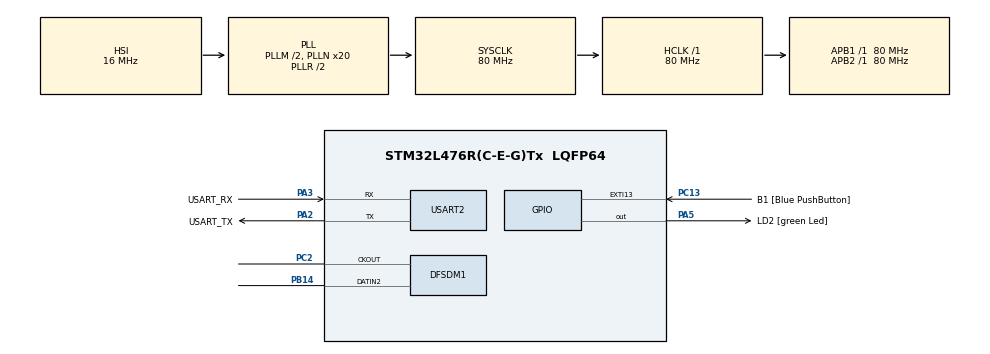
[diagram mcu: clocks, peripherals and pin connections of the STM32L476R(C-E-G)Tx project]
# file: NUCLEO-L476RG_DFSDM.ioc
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DFSDM1.Divider=17
DFSDM1.DmaMode_reg_FIL0=ENABLE
DFSDM1.FastMode_reg_FIL0=ENABLE
DFSDM1.Filter_regChannel_FIL0=DFSDM_CHANNEL_2
DFSDM1.Fosr_FIL0=32
DFSDM1.Oversampling_CH2=10
DFSDM1.RightBitShift_CH2=0x02
DFSDM1.SincOrder_FIL0=DFSDM_FILTER_SINC3_ORDER
Dma.DFSDM1_FLT0.0.Direction=DMA_PERIPH_TO_MEMORY
Dma.DFSDM1_FLT0.0.Instance=DMA1_Channel4
Dma.DFSDM1_FLT0.0.MemDataAlignment=DMA_MDATAALIGN_WORD
Dma.DFSDM1_FLT0.0.MemInc=DMA_MINC_ENABLE
Dma.DFSDM1_FLT0.0.Mode=DMA_CIRCULAR
Dma.DFSDM1_FLT0.0.PeriphDataAlignment=DMA_PDATAALIGN_WORD
Dma.DFSDM1_FLT0.0.PeriphInc=DMA_PINC_DISABLE
Dma.DFSDM1_FLT0.0.Priority=DMA_PRIORITY_MEDIUM
Dma.Request0=DFSDM1_FLT0
Mcu.Family=STM32L4
Mcu.Name=STM32L476R(C-E-G)Tx
Mcu.Package=LQFP64
NVIC.DMA1_Channel4_IRQn=true\:0\:0\:false\:false\:true\:true
NVIC.EXTI15_10_IRQn=true\:0\:0\:false\:false\:true\:true
NVIC.PriorityGroup=NVIC_PRIORITYGROUP_4
PA13\ (JTMS-SWDIO).GPIO_Label=TMS
PA13\ (JTMS-SWDIO).Signal=SYS_JTMS-SWDIO
PA14\ (JTCK-SWCLK).GPIO_Label=TCK
PA14\ (JTCK-SWCLK).Signal=SYS_JTCK-SWCLK
PA2.GPIO_Label=USART_TX
PA2.GPIO_Mode=GPIO_MODE_AF_PP
PA2.GPIO_PuPd=GPIO_NOPULL
PA2.GPIO_Speed=GPIO_SPEED_FREQ_VERY_HIGH
PA2.Mode=Asynchronous
PA2.Signal=USART2_TX
PA3.GPIO_Label=USART_RX
PA3.GPIO_Mode=GPIO_MODE_AF_PP
PA3.GPIO_PuPd=GPIO_NOPULL
PA3.GPIO_Speed=GPIO_SPEED_FREQ_VERY_HIGH
PA3.Mode=Asynchronous
PA3.Signal=USART2_RX
PA5.GPIO_Label=LD2 [green Led]
PA5.GPIO_ModeDefaultOutputPP=GPIO_MODE_OUTPUT_PP
PA5.GPIO_PuPd=GPIO_NOPULL
PA5.GPIO_Speed=GPIO_SPEED_FREQ_LOW
PA5.Signal=GPIO_Output
PB14.Signal=S_DATAIN2DFSDM1
PB3\ (JTDO-TRACESWO).GPIO_Label=SWO
PB3\ (JTDO-TRACESWO).Signal=SYS_JTDO-SWO
PC13.GPIO_Label=B1 [Blue PushButton]
PC13.GPIO_ModeDefaultEXTI=GPIO_MODE_IT_FALLING
PC13.GPIO_PuPd=GPIO_NOPULL
PC13.Signal=GPXTI13
PC14-OSC32_IN\ (PC14).Signal=RCC_OSC32_IN
PC15-OSC32_OUT\ (PC15).Signal=RCC_OSC32_OUT
PC2.Signal=S_CKOUTDFSDM1
PH0-OSC_IN\ (PH0).Signal=RCC_OSC_IN
PH1-OSC_OUT\ (PH1).Signal=RCC_OSC_OUT
ProjectManager.HeapSize=0x200
ProjectManager.StackSize=0x400
ProjectManager.TargetToolchain=TrueSTUDIO
RCC.ADCFreq_Value=96000000
RCC.AHBFreq_Value=80000000
RCC.APB1Freq_Value=80000000
RCC.APB1TimFreq_Value=80000000
RCC.APB2Freq_Value=80000000
RCC.APB2TimFreq_Value=80000000
RCC.CortexFreq_Value=80000000
RCC.HCLKFreq_Value=80000000
RCC.HSE_VALUE=8000000
RCC.HSI_VALUE=16000000
RCC.LSE_VALUE=32768
RCC.MSI_VALUE=4000000
RCC.PLLM=2
RCC.PLLN=20
RCC.PLLSAI1N=24
RCC.PLLSAI1Q=RCC_PLLQ_DIV4
RCC.PLLSourceVirtual=RCC_PLLSOURCE_HSI
RCC.PREFETCH_ENABLE=1
RCC.SYSCLKFreq_VALUE=80000000
RCC.SYSCLKSource=RCC_SYSCLKSOURCE_PLLCLK
RCC.USBFreq_Value=48000000
RCC.VCOOutputFreq_Value=160000000
SH.S_CKOUTDFSDM1.0=DFSDM1_CKOUT,PDM_SPI_input_from_ch2_and_internal_clock
SH.S_CKOUTDFSDM1.1=DFSDM1_CKOUT,CKOUT
SH.S_DATAIN2DFSDM1.0=DFSDM1_DATIN2,PDM_SPI_input_from_ch2_and_internal_clock
USART2.VirtualMode-Asynchronous=VM_ASYNC
USART2.WordLength=WORDLENGTH_8B
board=NUCLEO-L476RG

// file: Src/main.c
/**
  ******************************************************************************
  * @file           : main.c
  * @brief          : Main program body
  ******************************************************************************
  ** This notice applies to any and all portions of this file
  * that are not between comment pairs USER CODE BEGIN and
  * USER CODE END. Other portions of this file, whether
  * inserted by the user or by software development tools
  * are owned by their respective copyright owners.
  *
  * COPYRIGHT(c) 2018 STMicroelectronics
  *
  * Redistribution and use in source and binary forms, with or without modification,
  * are permitted provided that the following conditions are met:
  *   1. Redistributions of source code must retain the above copyright notice,
  *      this list of conditions and the following disclaimer.
  *   2. Redistributions in binary form must reproduce the above copyright notice,
  *      this list of conditions and the following disclaimer in the documentation
  *      and/or other materials provided with the distribution.
  *   3. Neither the name of STMicroelectronics nor the names of its contributors
  *      may be used to endorse or promote products derived from this software
  *      without specific prior written permission.
  *
  * THIS SOFTWARE IS PROVIDED BY THE COPYRIGHT HOLDERS AND CONTRIBUTORS "AS IS"
  * AND ANY EXPRESS OR IMPLIED WARRANTIES, INCLUDING, BUT NOT LIMITED TO, THE
  * IMPLIED WARRANTIES OF MERCHANTABILITY AND FITNESS FOR A PARTICULAR PURPOSE ARE
  * DISCLAIMED. IN NO EVENT SHALL THE COPYRIGHT HOLDER OR CONTRIBUTORS BE LIABLE
  * FOR ANY DIRECT, INDIRECT, INCIDENTAL, SPECIAL, EXEMPLARY, OR CONSEQUENTIAL
  * DAMAGES (INCLUDING, BUT NOT LIMITED TO, PROCUREMENT OF SUBSTITUTE GOODS OR
  * SERVICES; LOSS OF USE, DATA, OR PROFITS; OR BUSINESS INTERRUPTION) HOWEVER
  * CAUSED AND ON ANY THEORY OF LIABILITY, WHETHER IN CONTRACT, STRICT LIABILITY,
  * OR TORT (INCLUDING NEGLIGENCE OR OTHERWISE) ARISING IN ANY WAY OUT OF THE USE
  * OF THIS SOFTWARE, EVEN IF ADVISED OF THE POSSIBILITY OF SUCH DAMAGE.
  *
  ******************************************************************************
  */
#include "main.h"
#include "stm32l4xx_hal.h"
#include "dfsdm.h"
#include "dma.h"
#include "usart.h"
#include "gpio.h"

/* USER CODE BEGIN Includes */
#include "math.h"
#include "stdbool.h"
#include "arm_math.h"
/* USER CODE END Includes */

/* USER CODE BEGIN PV */
/* Private variables ---------------------------------------------------------*/
bool flag = true;
int32_t Buff[FFT_SampleNum * 2] = {0};

arm_rfft_fast_instance_f32 S;
float FFT_SampleRate;
int32_t FFT_inp_int32[FFT_SampleNum] = {0};
float FFT_inp[FFT_SampleNum] = {0.0f};
float FFT_oup[FFT_SampleNum] = {0.0f};
float FFT_mag[FFT_SampleNum/2] = {0.0f};
float FFT_dB[FFT_SampleNum/2] = {0.0f};
float FFT_frq[FFT_SampleNum/2] = {0.0f};
float FFT_window[FFT_SampleNum] = {0.0f};

bool output_result = false;
/* USER CODE END PV */

void SystemClock_Config(void);

/* USER CODE BEGIN PFP */
/* Private function prototypes -----------------------------------------------*/

/* USER CODE END PFP */

int main(void)
{

  /* MCU Configuration----------------------------------------------------------*/

  /* Reset of all peripherals, Initializes the Flash interface and the Systick. */
  HAL_Init();

  /* Configure the system clock */
  SystemClock_Config();

  /* Initialize all configured peripherals */
  MX_GPIO_Init();
  MX_DMA_Init();
  MX_USART2_UART_Init();
  MX_DFSDM1_Init();
  /* USER CODE BEGIN 2 */
  printf("\r\nPush USER button to output single-shot FFT\r\n");
  HAL_Delay(100);
    if (HAL_DFSDM_FilterRegularStart_DMA(&hdfsdm1_filter0, Buff, FFT_SampleNum) != HAL_OK)
    {
        Error_Handler();
    }

    // FFT init
    FFT_SampleRate = SystemCoreClock / hdfsdm1_channel2.Init.OutputClock.Divider
            / hdfsdm1_filter0.Init.FilterParam.Oversampling
            / hdfsdm1_filter0.Init.FilterParam.IntOversampling;

    // Hanning window
    const float tmp = 2.0f * M_PI / (float) FFT_SampleNum;
    for (uint32_t i = 0; i < FFT_SampleNum; i++)
        *(FFT_window + i) = 0.5f - 0.5f * arm_cos_f32((float) i * tmp);

    for (uint32_t i = 0; i < FFT_SampleNum / 2; i++)
        *(FFT_frq + i) = (float)i * (float)FFT_SampleRate / (float) FFT_SampleNum;

    arm_rfft_fast_init_f32(&S, FFT_SampleNum );
  /* USER CODE END 2 */

  /* Infinite loop */
  /* USER CODE BEGIN WHILE */
  while (1)
  {
        // Wait
        while (flag);
        // Raw data output
        /*for (uint32_t i = 0; i < FFT_SampleNum; i++)
             printf("%d\r\n", FFT_inp_int32[i]);*/

        // Set input data
        for (uint32_t i = 0; i < FFT_SampleNum; i++)
            FFT_inp[i] = (float) FFT_inp_int32[i];

        // Windowing
        arm_mult_f32(FFT_inp, FFT_window, FFT_inp, FFT_SampleNum);

        // Execute FFT
        arm_rfft_fast_f32(&S, FFT_inp, FFT_oup, 0);

        // calculate magnitude
        arm_cmplx_mag_f32(FFT_oup, FFT_mag, FFT_SampleNum / 2);

        // Normalization (Unitary transformation) of magnitude
        arm_scale_f32(FFT_mag, 1.0f / sqrtf((float) FFT_SampleNum), FFT_mag, FFT_SampleNum / 2);

        // AC coupling
        for (uint32_t i = 0; i < FFT_SampleNum / 2; i++)
        {
            if (*(FFT_frq + i) < FFT_AC_COUPLING_HZ)
                FFT_mag[i] = 1.0f;
            else
                break;
        }

        float inv_dB_base_mag = 1.0f / 1.0f;
        for (uint32_t i = 0; i < FFT_SampleNum / 2; i++)
            FFT_dB[i] = 10.0f * log10f(FFT_mag[i] * inv_dB_base_mag);

        // calc max mag
        float mag_max, frq_max;
        uint32_t maxIndex;
        arm_max_f32(FFT_mag, FFT_SampleNum / 2, &mag_max, &maxIndex);
        frq_max = *(FFT_frq + maxIndex);

        if (output_result) {
        	printf("\r\nSampleRate=%d, frq_max = %.1f, mag_max = %f\r\nFreq\tMag\tMag(dB)\r\n", (int)FFT_SampleRate, frq_max, mag_max);
        	for (uint32_t i = 0; i < FFT_SampleNum / 2; i++)
       		{
       			printf("%.1f\t%f\t%f\r\n", FFT_frq[i], FFT_mag[i], FFT_dB[i]);
       		}
        	output_result = false;
        	HAL_GPIO_WritePin(LD2_GPIO_Port, LD2_Pin, GPIO_PIN_RESET);
        }

        // HAL_Delay(2000);

        flag = true;        // <- Continuous transformation
  /* USER CODE END WHILE */

  }

}

void SystemClock_Config(void)
{

  RCC_OscInitTypeDef RCC_OscInitStruct;
  RCC_ClkInitTypeDef RCC_ClkInitStruct;
  RCC_PeriphCLKInitTypeDef PeriphClkInit;

    /**Initializes the CPU, AHB and APB busses clocks
    */
  RCC_OscInitStruct.OscillatorType = RCC_OSCILLATORTYPE_HSI;
  RCC_OscInitStruct.HSIState = RCC_HSI_ON;
  RCC_OscInitStruct.HSICalibrationValue = 16;
  RCC_OscInitStruct.PLL.PLLState = RCC_PLL_ON;
  RCC_OscInitStruct.PLL.PLLSource = RCC_PLLSOURCE_HSI;
  RCC_OscInitStruct.PLL.PLLM = 2;
  RCC_OscInitStruct.PLL.PLLN = 20;
  RCC_OscInitStruct.PLL.PLLP = RCC_PLLP_DIV7;
  RCC_OscInitStruct.PLL.PLLQ = RCC_PLLQ_DIV2;
  RCC_OscInitStruct.PLL.PLLR = RCC_PLLR_DIV2;
  if (HAL_RCC_OscConfig(&RCC_OscInitStruct) != HAL_OK)
  {
    _Error_Handler(__FILE__, __LINE__);
  }

    /**Initializes the CPU, AHB and APB busses clocks
    */
  RCC_ClkInitStruct.ClockType = RCC_CLOCKTYPE_HCLK|RCC_CLOCKTYPE_SYSCLK
                              |RCC_CLOCKTYPE_PCLK1|RCC_CLOCKTYPE_PCLK2;
  RCC_ClkInitStruct.SYSCLKSource = RCC_SYSCLKSOURCE_PLLCLK;
  RCC_ClkInitStruct.AHBCLKDivider = RCC_SYSCLK_DIV1;
  RCC_ClkInitStruct.APB1CLKDivider = RCC_HCLK_DIV1;
  RCC_ClkInitStruct.APB2CLKDivider = RCC_HCLK_DIV1;

  if (HAL_RCC_ClockConfig(&RCC_ClkInitStruct, FLASH_LATENCY_4) != HAL_OK)
  {
    _Error_Handler(__FILE__, __LINE__);
  }

  PeriphClkInit.PeriphClockSelection = RCC_PERIPHCLK_USART2|RCC_PERIPHCLK_DFSDM1;
  PeriphClkInit.Usart2ClockSelection = RCC_USART2CLKSOURCE_PCLK1;
  PeriphClkInit.Dfsdm1ClockSelection = RCC_DFSDM1CLKSOURCE_PCLK;
  if (HAL_RCCEx_PeriphCLKConfig(&PeriphClkInit) != HAL_OK)
  {
    _Error_Handler(__FILE__, __LINE__);
  }

    /**Configure the main internal regulator output voltage
    */
  if (HAL_PWREx_ControlVoltageScaling(PWR_REGULATOR_VOLTAGE_SCALE1) != HAL_OK)
  {
    _Error_Handler(__FILE__, __LINE__);
  }

    /**Configure the Systick interrupt time
    */
  HAL_SYSTICK_Config(HAL_RCC_GetHCLKFreq()/1000);

    /**Configure the Systick
    */
  HAL_SYSTICK_CLKSourceConfig(SYSTICK_CLKSOURCE_HCLK);

  /* SysTick_IRQn interrupt configuration */
  HAL_NVIC_SetPriority(SysTick_IRQn, 0, 0);
}

/* USER CODE BEGIN 4 */

/**
  * @brief  Half regular conversion complete callback.
  * @param  hdfsdm_filter : DFSDM filter handle.
  * @retval None
  */
void HAL_DFSDM_FilterRegConvHalfCpltCallback(DFSDM_Filter_HandleTypeDef *hdfsdm_filter)
{
    /*static int i = 0;
    printf("%d\r\n", i);
    i++;*/
}

/**
  * @brief  Regular conversion complete callback.
  * @note   In interrupt mode, user has to read conversion value in this function
            using HAL_DFSDM_FilterGetRegularValue.
  * @param  hdfsdm_filter : DFSDM filter handle.
  * @retval None
  */
void HAL_DFSDM_FilterRegConvCpltCallback(DFSDM_Filter_HandleTypeDef *hdfsdm_filter)
{
    if (flag)
    {
        for (uint32_t i = 0; i < FFT_SampleNum; i++)
        {
            FFT_inp_int32[i] = Buff[i];
        }
        flag = false;
    }

}

/**
 * @brief  Retargets the C library printf function to the USART.
 * @param  None
 * @retval None
 */
int _write(int file, char *ptr, int len)
{
    HAL_UART_Transmit(&huart2, (uint8_t *)ptr, (uint16_t)len, 0xFFFFFFFF);
    return len;
}

/**
 * @brief  GPIO External Interrupt callback
 * @param  GPIO_Pin
 * @retval None
 */
void HAL_GPIO_EXTI_Callback(uint16_t GPIO_Pin) {
  if (GPIO_Pin == GPIO_PIN_13) {  // User button (blue tactile switch)
	  HAL_GPIO_WritePin(LD2_GPIO_Port, LD2_Pin, GPIO_PIN_SET);
	  output_result = true;
  }
}
/* USER CODE END 4 */

void _Error_Handler(char *file, int line)
{
  while(1)
  {
  }
}

/************************ (C) COPYRIGHT STMicroelectronics *****END OF FILE****/
